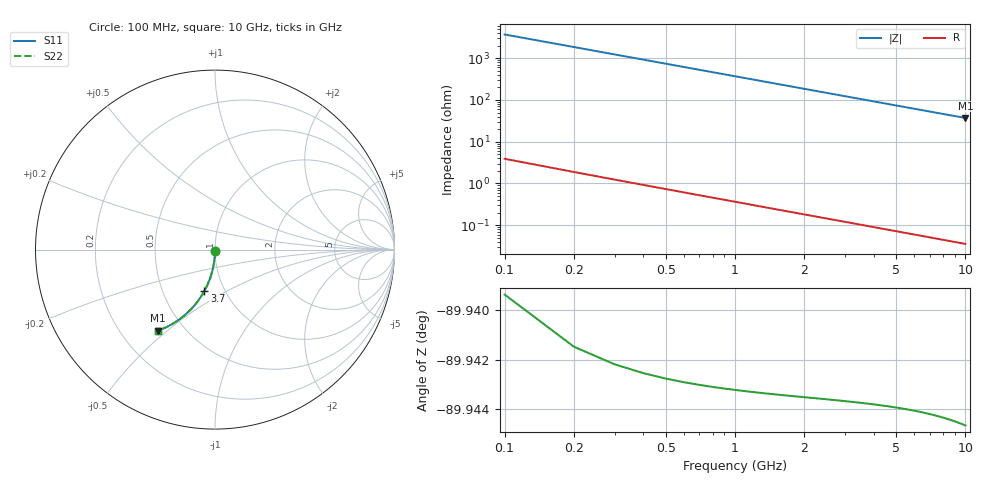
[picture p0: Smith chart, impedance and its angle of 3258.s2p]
# Hz S RI R 50.00
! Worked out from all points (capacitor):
!   100 points, 100 MHz to 10 GHz, reference 50 ohm
!   read as one part in shunt: C = 432 fF near 100 MHz
!   lowest |Z| = 37 ohm at 10 GHz (marker M1)
!   S11 on the Smith chart (normalised r, x): 100 MHz: 1.00, -0.01; 3.7 GHz: 0.80, -0.39; 10 GHz: 0.36, -0.47
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1e8  -2.07e-05 -0.00665  0.9999 -0.00691  0.9999 -0.00691  -2.07e-05 -0.00665
2e8  -0.000165 -0.0133  0.9998 -0.0138  0.9998 -0.0138  -0.000165 -0.0133
3e8  -0.000401 -0.0199  0.9995 -0.0207  0.9995 -0.0207  -0.000401 -0.0199
4e8  -0.000729 -0.0266  0.9992 -0.0276  0.9992 -0.0276  -0.000729 -0.0266
5e8  -0.00115 -0.0332  0.9988 -0.0345  0.9988 -0.0345  -0.00115 -0.0332
6e8  -0.00166 -0.0398  0.9983 -0.0414  0.9983 -0.0414  -0.00166 -0.0398
7e8  -0.00226 -0.0464  0.9977 -0.0483  0.9977 -0.0483  -0.00226 -0.0464
8e8  -0.00295 -0.053  0.997 -0.0551  0.997 -0.0551  -0.00295 -0.053
9e8  -0.00374 -0.0596  0.9962 -0.062  0.9962 -0.062  -0.00374 -0.0596
1.1e9  -0.00557 -0.0727  0.9944 -0.0756  0.9944 -0.0756  -0.00557 -0.0727
1.4e9  -0.00899 -0.0923  0.9909 -0.0959  0.9909 -0.0959  -0.00899 -0.0923
1.8e9  -0.0148 -0.1179  0.9852 -0.1227  0.9852 -0.1227  -0.0148 -0.1179
2.1e9  -0.02 -0.1368  0.9799 -0.1424  0.9799 -0.1424  -0.02 -0.1368
2.5e9  -0.0281 -0.1615  0.9718 -0.1681  0.9718 -0.1681  -0.0281 -0.1615
2.9e9  -0.0374 -0.1856  0.9625 -0.1932  0.9625 -0.1932  -0.0374 -0.1856
3.4e9  -0.0507 -0.2145  0.9492 -0.2235  0.9492 -0.2235  -0.0507 -0.2145
3.7e9  -0.0595 -0.2313  0.9404 -0.2411  0.9404 -0.2411  -0.0595 -0.2313
4.4e9  -0.0821 -0.2684  0.9177 -0.28  0.9177 -0.28  -0.0821 -0.2684
5.1e9  -0.1074 -0.3024  0.8925 -0.316  0.8925 -0.316  -0.1074 -0.3024
6.7e9  -0.1721 -0.3681  0.8277 -0.386  0.8277 -0.386  -0.1721 -0.3681
8.4e9  -0.2465 -0.4193  0.7532 -0.4419  0.7532 -0.4419  -0.2465 -0.4193
1e10  -0.3171 -0.4514  0.6825 -0.4784  0.6825 -0.4784  -0.3171 -0.4514
